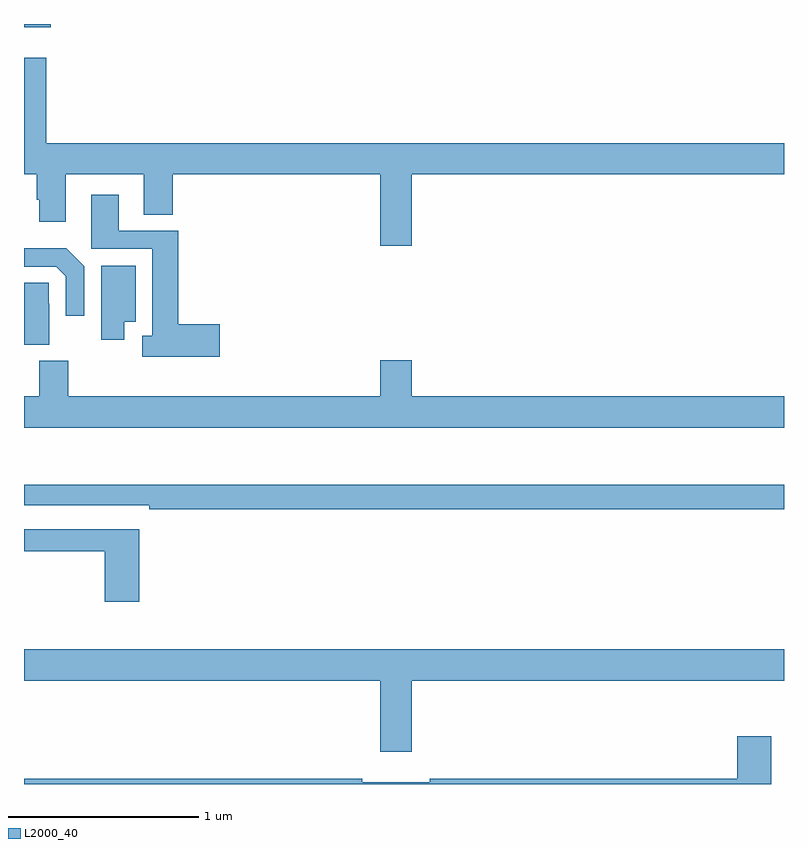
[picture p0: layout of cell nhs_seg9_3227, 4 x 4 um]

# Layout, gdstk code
import gdstk
lib = gdstk.Library(unit=1e-6, precision=1e-09)
def R(c, l, rs):  # rectangles x0, y0, x1, y1
    for r in rs: c.add(gdstk.rectangle(r[:2], r[2:], *l))
def P(c, l, *ps):  # polygons
    for p in ps: c.add(gdstk.Polygon(p, *l))
L2000_40 = (2000, 40)

nhs_seg9_3227 = lib.new_cell('nhs_seg9_3227')
R(nhs_seg9_3227, L2000_40, [(295,1242.482,295.141,1242.5)])
P(nhs_seg9_3227, L2000_40, [(297.04,1241.708),(299,1241.708),(299,1241.872),(295.117,1241.872),(295.117,1242.322),(295,1242.322),(295,1241.708),(295.067,1241.708),(295.067,1241.575),(295.079,1241.575),(295.079,1241.46),(295.219,1241.46),(295.219,1241.708),(295.631,1241.708),(295.631,1241.497),(295.784,1241.497),(295.784,1241.708),(296.876,1241.708),(296.876,1241.334),(297.04,1241.334)],
  [(296.029,1240.919),(295.811,1240.919),(295.811,1241.412),(295.498,1241.412),(295.498,1241.602),(295.355,1241.602),(295.355,1241.316),(295.676,1241.316),(295.676,1240.858),(295.623,1240.858),(295.623,1240.749),(296.029,1240.749)],
  [(295.317,1241.226),(295.223,1241.32),(295,1241.32),(295,1241.223),(295.17,1241.223),(295.221,1241.172),(295.221,1240.965),(295.317,1240.965)],
  [(295.528,1240.934),(295.588,1240.934),(295.588,1241.227),(295.406,1241.227),(295.406,1240.839),(295.528,1240.839)],
  [(295.132,1241.027),(295.131,1241.027),(295.131,1241.138),(295,1241.138),(295,1240.813),(295.132,1240.813)],
  [(299,1240.54),(297.04,1240.54),(297.04,1240.729),(296.876,1240.729),(296.876,1240.54),(295.232,1240.54),(295.232,1240.728),(295.079,1240.728),(295.079,1240.54),(295,1240.54),(295,1240.376),(299,1240.376)],
  [(299,1240.075),(295,1240.075),(295,1239.966),(295.66,1239.966),(295.66,1239.946),(299,1239.946)],
  [(295.607,1239.84),(295,1239.84),(295,1239.724),(295.424,1239.724),(295.424,1239.459),(295.607,1239.459)],
  [(297.04,1239.044),(299,1239.044),(299,1239.208),(295,1239.208),(295,1239.044),(296.876,1239.044),(296.876,1238.67),(297.04,1238.67)],
  [(298.932,1238.752),(298.754,1238.752),(298.754,1238.528),(297.136,1238.528),(297.136,1238.509),(296.78,1238.509),(296.78,1238.528),(295,1238.528),(295,1238.5),(298.932,1238.5)])

lib.write_gds('nhs_seg9_3227.gds')
